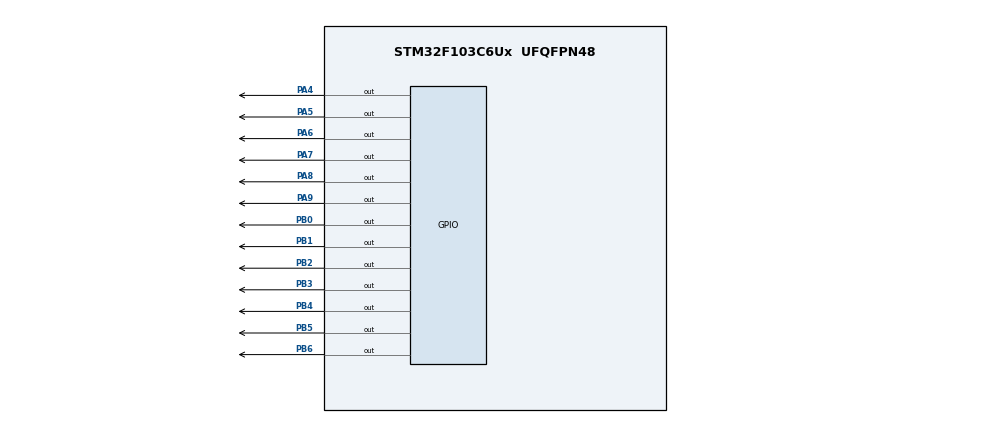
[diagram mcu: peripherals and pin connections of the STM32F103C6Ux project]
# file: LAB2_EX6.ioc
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Mcu.Family=STM32F1
Mcu.Name=STM32F103C6Ux
Mcu.Package=UFQFPN48
NVIC.PriorityGroup=NVIC_PRIORITYGROUP_4
NVIC.TIM2_IRQn=true\:0\:0\:false\:false\:true\:true\:true
PA4.Signal=GPIO_Output
PA5.Signal=GPIO_Output
PA6.Signal=GPIO_Output
PA7.Signal=GPIO_Output
PA8.Signal=GPIO_Output
PA9.Signal=GPIO_Output
PB0.Signal=GPIO_Output
PB1.Signal=GPIO_Output
PB2.Signal=GPIO_Output
PB3.Signal=GPIO_Output
PB4.Signal=GPIO_Output
PB5.Signal=GPIO_Output
PB6.Signal=GPIO_Output
ProjectManager.HeapSize=0x200
ProjectManager.StackSize=0x400
ProjectManager.TargetToolchain=STM32CubeIDE
RCC.APB1Freq_Value=8000000
RCC.APB2Freq_Value=8000000
TIM2.Period=9
TIM2.Prescaler=7999
VP_SYS_VS_ND.Mode=No_Debug
VP_TIM2_VS_ClockSourceINT.Mode=Internal
board=custom

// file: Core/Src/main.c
/* USER CODE BEGIN Header */
/**
  ******************************************************************************
  * @file           : main.c
  * @brief          : Main program body
  ******************************************************************************
  * @attention
  *
  * <h2><center>&copy; Copyright (c) 2025 STMicroelectronics.
  * All rights reserved.</center></h2>
  *
  * This software component is licensed by ST under BSD 3-Clause license,
  * the "License"; You may not use this file except in compliance with the
  * License. You may obtain a copy of the License at:
  *                        opensource.org/licenses/BSD-3-Clause
  *
  ******************************************************************************
  */
/* USER CODE END Header */
#include "main.h"

TIM_HandleTypeDef htim2;

void SystemClock_Config(void);
static void MX_GPIO_Init(void);
static void MX_TIM2_Init(void);

/* USER CODE BEGIN 0 */
volatile int tick10ms = 0;
volatile int secTick  = 0;
volatile int index_led = 0;

const int MAX_LED = 4;
int led_buffer[4] = {0,0,0,0};

int hour = 15, minute = 8, second = 50;

int timer0_counter = 0;
int timer0_flag = 0;
int TIMER_CYCLE = 10;

void setTimer0(int duration_ms){
    timer0_counter = duration_ms / TIMER_CYCLE;
    timer0_flag = 0;
}
void timer_run(){
    if(timer0_counter > 0){
        timer0_counter--;
        if(timer0_counter == 0) timer0_flag = 1;
    }
}

void display7SEG(int num){
    HAL_GPIO_WritePin(GPIOB, 0x7F, GPIO_PIN_SET);

    switch(num){
        case 0: HAL_GPIO_WritePin(GPIOB, GPIO_PIN_0|GPIO_PIN_1|GPIO_PIN_2|
                                       GPIO_PIN_3|GPIO_PIN_4|GPIO_PIN_5, GPIO_PIN_RESET); break;
        case 1: HAL_GPIO_WritePin(GPIOB, GPIO_PIN_1|GPIO_PIN_2, GPIO_PIN_RESET); break;
        case 2: HAL_GPIO_WritePin(GPIOB, GPIO_PIN_0|GPIO_PIN_1|GPIO_PIN_3|
                                       GPIO_PIN_4|GPIO_PIN_6, GPIO_PIN_RESET); break;
        case 3: HAL_GPIO_WritePin(GPIOB, GPIO_PIN_0|GPIO_PIN_1|GPIO_PIN_2|
                                       GPIO_PIN_3|GPIO_PIN_6, GPIO_PIN_RESET); break;
        case 4: HAL_GPIO_WritePin(GPIOB, GPIO_PIN_1|GPIO_PIN_2|GPIO_PIN_5|
                                       GPIO_PIN_6, GPIO_PIN_RESET); break;
        case 5: HAL_GPIO_WritePin(GPIOB, GPIO_PIN_0|GPIO_PIN_2|GPIO_PIN_3|
                                       GPIO_PIN_5|GPIO_PIN_6, GPIO_PIN_RESET); break;
        case 6: HAL_GPIO_WritePin(GPIOB, GPIO_PIN_0|GPIO_PIN_2|GPIO_PIN_3|
                                       GPIO_PIN_4|GPIO_PIN_5|GPIO_PIN_6, GPIO_PIN_RESET); break;
        case 7: HAL_GPIO_WritePin(GPIOB, GPIO_PIN_0|GPIO_PIN_1|GPIO_PIN_2, GPIO_PIN_RESET); break;
        case 8: HAL_GPIO_WritePin(GPIOB, 0x7F, GPIO_PIN_RESET); break; //
        case 9: HAL_GPIO_WritePin(GPIOB, GPIO_PIN_0|GPIO_PIN_1|GPIO_PIN_2|
                                       GPIO_PIN_3|GPIO_PIN_5|GPIO_PIN_6, GPIO_PIN_RESET); break;
        default: break;
    }
}

// --- Chọn LED ---
void disableAllDigits(void){
    HAL_GPIO_WritePin(GPIOA, GPIO_PIN_6|GPIO_PIN_7|GPIO_PIN_8|GPIO_PIN_9, GPIO_PIN_SET);
}
void enableDigit(int idx){
    switch(idx){
        case 0: HAL_GPIO_WritePin(GPIOA, GPIO_PIN_6, GPIO_PIN_RESET); break;
        case 1: HAL_GPIO_WritePin(GPIOA, GPIO_PIN_7, GPIO_PIN_RESET); break;
        case 2: HAL_GPIO_WritePin(GPIOA, GPIO_PIN_8, GPIO_PIN_RESET); break;
        case 3: HAL_GPIO_WritePin(GPIOA, GPIO_PIN_9, GPIO_PIN_RESET); break;
    }
}

void update7SEG(int index){
    disableAllDigits();
    display7SEG(led_buffer[index]);
    enableDigit(index);
}

void updateClockBuffer(){
    led_buffer[0] = hour   / 10;
    led_buffer[1] = hour   % 10;
    led_buffer[2] = minute / 10;
    led_buffer[3] = minute % 10;
}

/* USER CODE END 0 */

int main(void)
{

  /* MCU Configuration--------------------------------------------------------*/

  /* Reset of all peripherals, Initializes the Flash interface and the Systick. */
  HAL_Init();

  /* Configure the system clock */
  SystemClock_Config();

  /* Initialize all configured peripherals */
  MX_GPIO_Init();
  MX_TIM2_Init();
  /* USER CODE BEGIN 2 */
  HAL_TIM_Base_Start_IT(&htim2);
  /* USER CODE END 2 */

  /* Infinite loop */
  /* USER CODE BEGIN WHILE */
  updateClockBuffer();
  setTimer0(1000);
  while (1)
  {
	  if(timer0_flag == 1){
	      timer0_flag = 0;

	      second++;
	      if(second >= 60){ second = 0; minute++; }
	      if(minute >= 60){ minute = 0; hour++; }
	      if(hour >= 24){ hour = 0; }

	      updateClockBuffer();
	      setTimer0(1000);
	  }
    /* USER CODE END WHILE */

  }
}

void SystemClock_Config(void)
{
  RCC_OscInitTypeDef RCC_OscInitStruct = {0};
  RCC_ClkInitTypeDef RCC_ClkInitStruct = {0};

  /** Initializes the RCC Oscillators according to the specified parameters
  * in the RCC_OscInitTypeDef structure.
  */
  RCC_OscInitStruct.OscillatorType = RCC_OSCILLATORTYPE_HSI;
  RCC_OscInitStruct.HSIState = RCC_HSI_ON;
  RCC_OscInitStruct.HSICalibrationValue = RCC_HSICALIBRATION_DEFAULT;
  RCC_OscInitStruct.PLL.PLLState = RCC_PLL_NONE;
  if (HAL_RCC_OscConfig(&RCC_OscInitStruct) != HAL_OK)
  {
    Error_Handler();
  }
  /** Initializes the CPU, AHB and APB buses clocks
  */
  RCC_ClkInitStruct.ClockType = RCC_CLOCKTYPE_HCLK|RCC_CLOCKTYPE_SYSCLK
                              |RCC_CLOCKTYPE_PCLK1|RCC_CLOCKTYPE_PCLK2;
  RCC_ClkInitStruct.SYSCLKSource = RCC_SYSCLKSOURCE_HSI;
  RCC_ClkInitStruct.AHBCLKDivider = RCC_SYSCLK_DIV1;
  RCC_ClkInitStruct.APB1CLKDivider = RCC_HCLK_DIV1;
  RCC_ClkInitStruct.APB2CLKDivider = RCC_HCLK_DIV1;

  if (HAL_RCC_ClockConfig(&RCC_ClkInitStruct, FLASH_LATENCY_0) != HAL_OK)
  {
    Error_Handler();
  }
}

static void MX_TIM2_Init(void)
{

  TIM_ClockConfigTypeDef sClockSourceConfig = {0};
  TIM_MasterConfigTypeDef sMasterConfig = {0};

  htim2.Instance = TIM2;
  htim2.Init.Prescaler = 7999;
  htim2.Init.CounterMode = TIM_COUNTERMODE_UP;
  htim2.Init.Period = 9;
  htim2.Init.ClockDivision = TIM_CLOCKDIVISION_DIV1;
  htim2.Init.AutoReloadPreload = TIM_AUTORELOAD_PRELOAD_DISABLE;
  if (HAL_TIM_Base_Init(&htim2) != HAL_OK)
  {
    Error_Handler();
  }
  sClockSourceConfig.ClockSource = TIM_CLOCKSOURCE_INTERNAL;
  if (HAL_TIM_ConfigClockSource(&htim2, &sClockSourceConfig) != HAL_OK)
  {
    Error_Handler();
  }
  sMasterConfig.MasterOutputTrigger = TIM_TRGO_RESET;
  sMasterConfig.MasterSlaveMode = TIM_MASTERSLAVEMODE_DISABLE;
  if (HAL_TIMEx_MasterConfigSynchronization(&htim2, &sMasterConfig) != HAL_OK)
  {
    Error_Handler();
  }

}

static void MX_GPIO_Init(void)
{
  GPIO_InitTypeDef GPIO_InitStruct = {0};

  /* GPIO Ports Clock Enable */
  __HAL_RCC_GPIOA_CLK_ENABLE();
  __HAL_RCC_GPIOB_CLK_ENABLE();

  /*Configure GPIO pin Output Level */
  HAL_GPIO_WritePin(GPIOA, GPIO_PIN_4|GPIO_PIN_5|GPIO_PIN_6|GPIO_PIN_7
                          |GPIO_PIN_8|GPIO_PIN_9, GPIO_PIN_RESET);

  /*Configure GPIO pin Output Level */
  HAL_GPIO_WritePin(GPIOB, GPIO_PIN_0|GPIO_PIN_1|GPIO_PIN_2|GPIO_PIN_3
                          |GPIO_PIN_4|GPIO_PIN_5|GPIO_PIN_6, GPIO_PIN_RESET);

  /*Configure GPIO pins : PA4 PA5 PA6 PA7
                           PA8 PA9 */
  GPIO_InitStruct.Pin = GPIO_PIN_4|GPIO_PIN_5|GPIO_PIN_6|GPIO_PIN_7
                          |GPIO_PIN_8|GPIO_PIN_9;
  GPIO_InitStruct.Mode = GPIO_MODE_OUTPUT_PP;
  GPIO_InitStruct.Pull = GPIO_NOPULL;
  GPIO_InitStruct.Speed = GPIO_SPEED_FREQ_LOW;
  HAL_GPIO_Init(GPIOA, &GPIO_InitStruct);

  /*Configure GPIO pins : PB0 PB1 PB2 PB3
                           PB4 PB5 PB6 */
  GPIO_InitStruct.Pin = GPIO_PIN_0|GPIO_PIN_1|GPIO_PIN_2|GPIO_PIN_3
                          |GPIO_PIN_4|GPIO_PIN_5|GPIO_PIN_6;
  GPIO_InitStruct.Mode = GPIO_MODE_OUTPUT_PP;
  GPIO_InitStruct.Pull = GPIO_NOPULL;
  GPIO_InitStruct.Speed = GPIO_SPEED_FREQ_LOW;
  HAL_GPIO_Init(GPIOB, &GPIO_InitStruct);

}

/* USER CODE BEGIN 4 */
void HAL_TIM_PeriodElapsedCallback(TIM_HandleTypeDef *htim){
    if(htim->Instance == TIM2){
        timer_run();

        tick10ms++;
        if(tick10ms >= 25){
            tick10ms = 0;
            update7SEG(index_led);
            index_led = (index_led + 1) % MAX_LED;
        }

        secTick++;
        if(secTick >= 100){
            secTick = 0;
            HAL_GPIO_TogglePin(GPIOA, GPIO_PIN_4);
            HAL_GPIO_TogglePin(GPIOA, GPIO_PIN_5);
        }
    }
}
/* USER CODE END 4 */

void Error_Handler(void)
{
  __disable_irq();
  while (1)
  {
  }
}

/************************ (C) COPYRIGHT STMicroelectronics *****END OF FILE****/
